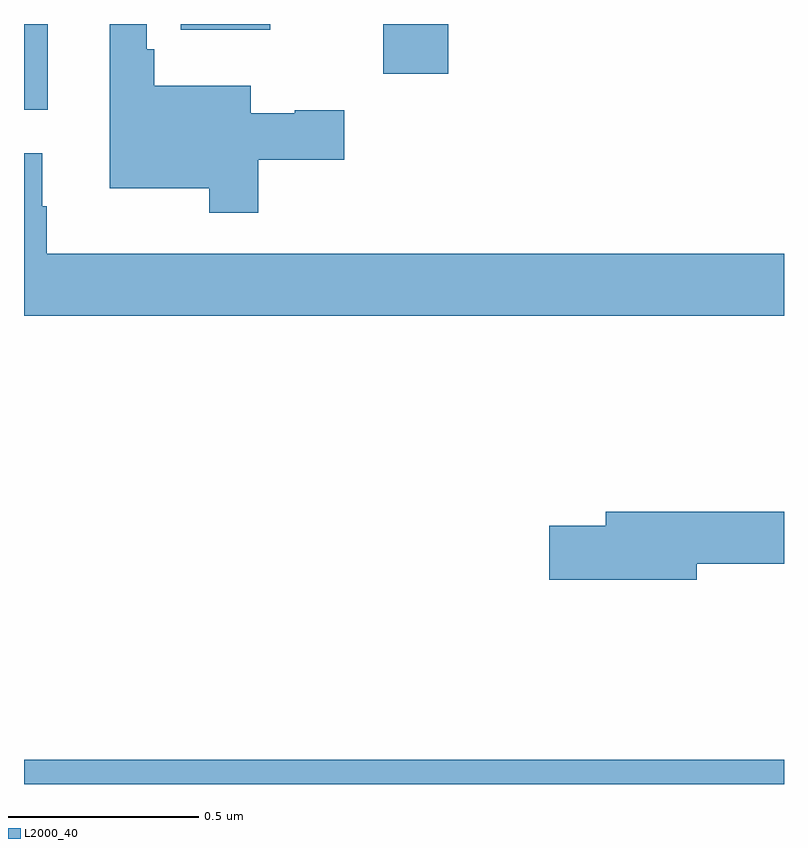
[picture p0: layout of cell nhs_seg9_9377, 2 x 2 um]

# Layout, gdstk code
import gdstk
lib = gdstk.Library(unit=1e-6, precision=1e-09)
def R(c, l, rs):  # rectangles x0, y0, x1, y1
    for r in rs: c.add(gdstk.rectangle(r[:2], r[2:], *l))
def P(c, l, *ps):  # polygons
    for p in ps: c.add(gdstk.Polygon(p, *l))
L2000_40 = (2000, 40)

nhs_seg9_9377 = lib.new_cell('nhs_seg9_9377')
R(nhs_seg9_9377, L2000_40, [(229,1216.5,231,1216.564), (229,1218.275,229.063,1218.5), (229.946,1218.369,230.117,1218.5), (229.412,1218.485,229.648,1218.5)])
P(nhs_seg9_9377, L2000_40, [(229.616,1218.143),(229.843,1218.143),(229.843,1218.273),(229.712,1218.273),(229.712,1218.265),(229.597,1218.265),(229.597,1218.337),(229.343,1218.337),(229.343,1218.433),(229.323,1218.433),(229.323,1218.5),(229.226,1218.5),(229.226,1218.068),(229.488,1218.068),(229.488,1218.003),(229.616,1218.003)],
  [(231,1217.896),(229.06,1217.896),(229.06,1218.02),(229.048,1218.02),(229.048,1218.16),(229,1218.16),(229,1217.732),(231,1217.732)],
  [(230.77,1217.08),(231,1217.08),(231,1217.216),(230.531,1217.216),(230.531,1217.18),(230.382,1217.18),(230.382,1217.038),(230.77,1217.038)])

lib.write_gds('nhs_seg9_9377.gds')
